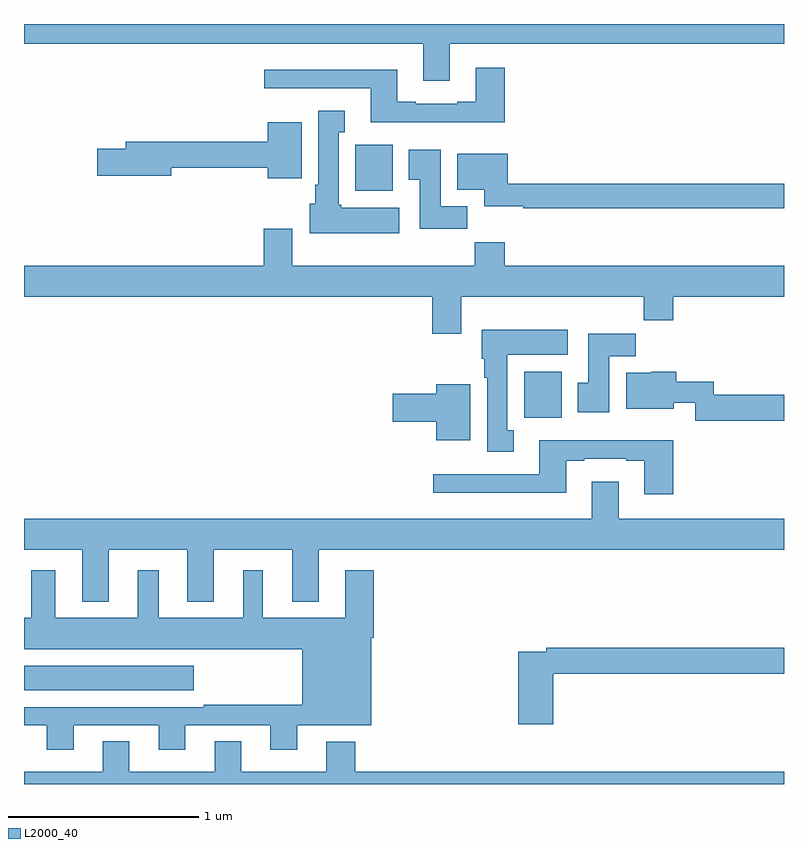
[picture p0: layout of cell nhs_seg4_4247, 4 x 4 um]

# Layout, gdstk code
import gdstk
lib = gdstk.Library(unit=1e-6, precision=1e-09)
def R(c, l, rs):  # rectangles x0, y0, x1, y1
    for r in rs: c.add(gdstk.rectangle(r[:2], r[2:], *l))
def P(c, l, *ps):  # polygons
    for p in ps: c.add(gdstk.Polygon(p, *l))
L2000_40 = (2000, 40)

nhs_seg4_4247 = lib.new_cell('nhs_seg4_4247')
R(nhs_seg4_4247, L2000_40, [(337,817.394,337.894,817.522), (339.632,818.828,339.829,819.07), (338.744,820.022,338.941,820.264)])
P(nhs_seg4_4247, L2000_40, [(339.241,820.796),(341,820.796),(341,820.9),(337,820.9),(337,820.796),(339.101,820.796),(339.101,820.602),(339.241,820.602)],
  [(339.53,820.669),(339.377,820.669),(339.377,820.492),(339.281,820.492),(339.281,820.479),(339.061,820.479),(339.061,820.492),(338.965,820.492),(338.965,820.66),(338.265,820.66),(338.265,820.563),(338.825,820.563),(338.825,820.382),(339.53,820.382)],
  [(338.974,819.934),(338.67,819.934),(338.67,819.948),(338.656,819.948),(338.656,820.331),(338.689,820.331),(338.689,820.444),(338.549,820.444),(338.549,820.054),(338.534,820.054),(338.534,819.954),(338.504,819.954),(338.504,819.8),(338.974,819.8)],
  [(338.461,820.384),(338.282,820.384),(338.282,820.28),(337.535,820.28),(337.535,820.244),(337.386,820.244),(337.386,820.102),(337.774,820.102),(337.774,820.144),(338.282,820.144),(338.282,820.088),(338.461,820.088)],
  [(339.332,819.94),(339.193,819.94),(339.193,820.237),(339.026,820.237),(339.026,820.081),(339.083,820.081),(339.083,819.822),(339.332,819.822)],
  [(341,820.058),(339.545,820.058),(339.545,820.216),(339.281,820.216),(339.281,820.028),(339.422,820.028),(339.422,819.941),(339.628,819.941),(339.628,819.93),(341,819.93)],
  [(339.301,819.464),(340.261,819.464),(340.261,819.34),(340.418,819.34),(340.418,819.464),(341,819.464),(341,819.628),(339.53,819.628),(339.53,819.752),(339.373,819.752),(339.373,819.628),(338.413,819.628),(338.413,819.823),(338.261,819.823),(338.261,819.628),(337,819.628),(337,819.464),(339.149,819.464),(339.149,819.27),(339.301,819.27)],
  [(339.577,818.762),(339.544,818.762),(339.544,819.158),(339.862,819.158),(339.862,819.292),(339.41,819.292),(339.41,819.138),(339.422,819.138),(339.422,819.038),(339.437,819.038),(339.437,818.649),(339.577,818.649)],
  [(340.081,819.152),(340.22,819.152),(340.22,819.271),(339.971,819.271),(339.971,819.012),(339.914,819.012),(339.914,818.856),(340.081,818.856)],
  [(341,818.948),(340.629,818.948),(340.629,819.016),(340.433,819.016),(340.433,819.07),(340.302,819.07),(340.302,819.064),(340.169,819.064),(340.169,818.876),(340.42,818.876),(340.42,818.906),(340.533,818.906),(340.533,818.812),(341,818.812)],
  [(339.349,819.004),(339.17,819.004),(339.17,818.954),(338.94,818.954),(338.94,818.807),(339.17,818.807),(339.17,818.708),(339.349,818.708)],
  [(340.418,818.71),(339.713,818.71),(339.713,818.529),(339.153,818.529),(339.153,818.432),(339.853,818.432),(339.853,818.601),(339.949,818.601),(339.949,818.613),(340.169,818.613),(340.169,818.601),(340.265,818.601),(340.265,818.424),(340.418,818.424)],
  [(337.447,818.132),(337.859,818.132),(337.859,817.859),(337.999,817.859),(337.999,818.132),(338.411,818.132),(338.411,817.859),(338.551,817.859),(338.551,818.132),(341,818.132),(341,818.296),(340.129,818.296),(340.129,818.491),(339.989,818.491),(339.989,818.296),(337,818.296),(337,818.132),(337.307,818.132),(337.307,817.859),(337.447,817.859)],
  [(337.261,817.209),(337.709,817.209),(337.709,817.08),(337.849,817.08),(337.849,817.209),(338.297,817.209),(338.297,817.08),(338.437,817.08),(338.437,817.208),(338.827,817.208),(338.827,817.67),(338.84,817.67),(338.84,818.026),(338.69,818.026),(338.69,817.774),(338.257,817.774),(338.257,818.026),(338.153,818.026),(338.153,817.774),(337.708,817.774),(337.708,818.026),(337.598,818.026),(337.598,817.774),(337.165,817.774),(337.165,818.026),(337.037,818.026),(337.037,817.774),(337,817.774),(337,817.61),(338.465,817.61),(338.465,817.318),(337.945,817.318),(337.945,817.305),(337,817.305),(337,817.209),(337.121,817.209),(337.121,817.08),(337.261,817.08)],
  [(339.785,817.48),(341,817.48),(341,817.616),(339.748,817.616),(339.748,817.596),(339.602,817.596),(339.602,817.215),(339.785,817.215)],
  [(341,816.964),(338.744,816.964),(338.744,817.123),(338.591,817.123),(338.591,816.964),(338.143,816.964),(338.143,817.124),(338.003,817.124),(338.003,816.964),(337.555,816.964),(337.555,817.124),(337.415,817.124),(337.415,816.964),(337,816.964),(337,816.9),(341,816.9)])

lib.write_gds('nhs_seg4_4247.gds')
